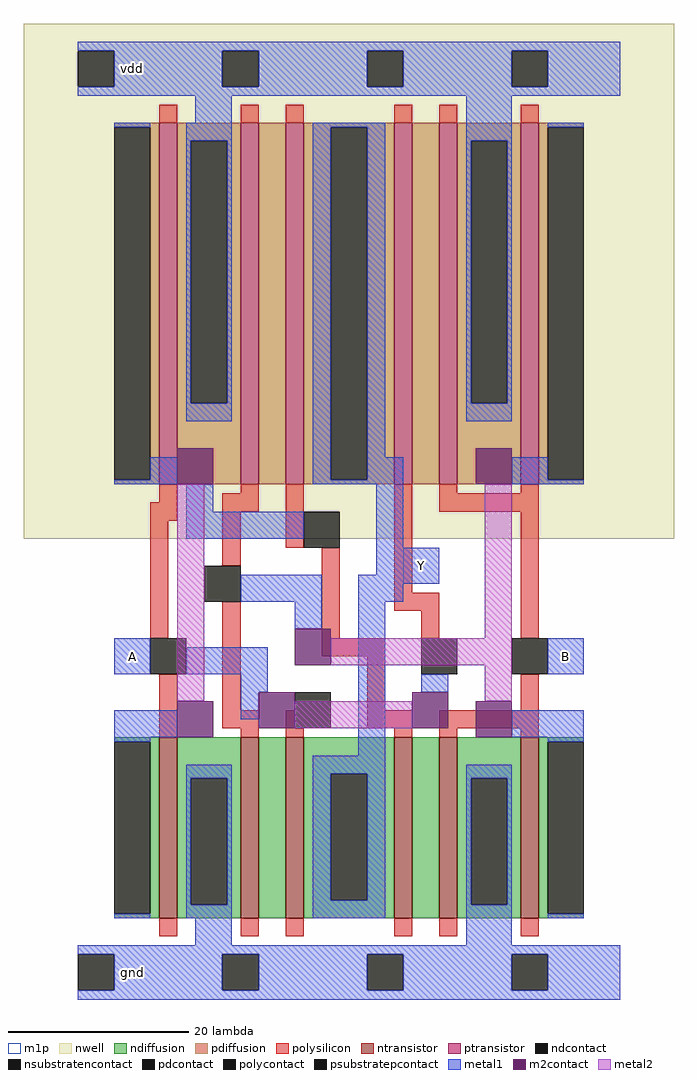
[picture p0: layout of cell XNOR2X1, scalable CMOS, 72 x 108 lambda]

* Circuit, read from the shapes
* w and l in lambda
.subckt XNOR2X1 A B Y vdd gnd
M1 gnd A n1 gnd nfet w=20 l=2
M2 n2 n3 gnd gnd nfet w=20 l=2
M3 Y A n2 gnd nfet w=20 l=2
M4 n4 n1 Y gnd nfet w=20 l=2
M5 gnd B n4 gnd nfet w=20 l=2
M6 n3 B gnd gnd nfet w=20 l=2
M7 vdd A n1 vdd pfet w=40 l=2
M8 n5 n3 vdd vdd pfet w=40 l=2
M9 Y n1 n5 vdd pfet w=40 l=2
M10 n6 A Y vdd pfet w=40 l=2
M11 vdd B n6 vdd pfet w=40 l=2
M12 n3 B vdd vdd pfet w=40 l=2
.ends

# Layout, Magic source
magic
tech scmos
magscale 1 2
<< nwell >>
rect -16 96 128 210
<< ntransistor >>
rect 14 12 18 52
rect 32 12 36 52
rect 42 12 46 52
rect 66 12 70 52
rect 76 12 80 52
rect 94 12 98 52
<< ptransistor >>
rect 14 108 18 188
rect 32 108 36 188
rect 42 108 46 188
rect 66 108 70 188
rect 76 108 80 188
rect 94 108 98 188
<< ndiffusion >>
rect 4 51 14 52
rect 12 13 14 51
rect 4 12 14 13
rect 18 43 32 52
rect 18 15 21 43
rect 29 15 32 43
rect 18 12 32 15
rect 36 12 42 52
rect 46 44 66 52
rect 46 16 52 44
rect 60 16 66 44
rect 46 12 66 16
rect 70 12 76 52
rect 80 43 94 52
rect 80 15 83 43
rect 91 15 94 43
rect 80 12 94 15
rect 98 51 108 52
rect 98 13 100 51
rect 98 12 108 13
<< pdiffusion >>
rect 4 187 14 188
rect 12 109 14 187
rect 4 108 14 109
rect 18 184 32 188
rect 18 126 21 184
rect 29 126 32 184
rect 18 108 32 126
rect 36 108 42 188
rect 46 187 66 188
rect 46 109 52 187
rect 60 109 66 187
rect 46 108 66 109
rect 70 108 76 188
rect 80 184 94 188
rect 80 126 83 184
rect 91 126 94 184
rect 80 108 94 126
rect 98 187 108 188
rect 98 109 100 187
rect 98 108 108 109
<< ndcontact >>
rect 4 13 12 51
rect 21 15 29 43
rect 52 16 60 44
rect 83 15 91 43
rect 100 13 108 51
<< pdcontact >>
rect 4 109 12 187
rect 21 126 29 184
rect 52 109 60 187
rect 83 126 91 184
rect 100 109 108 187
<< psubstratepcontact >>
rect -4 -4 4 4
rect 28 -4 36 4
rect 60 -4 68 4
rect 92 -4 100 4
<< nsubstratencontact >>
rect -4 196 4 204
rect 28 196 36 204
rect 60 196 68 204
rect 92 196 100 204
<< polysilicon >>
rect 14 188 18 192
rect 32 188 36 192
rect 42 188 46 192
rect 66 188 70 192
rect 76 188 80 192
rect 94 188 98 192
rect 14 104 18 108
rect 32 106 36 108
rect 12 100 18 104
rect 28 102 36 106
rect 12 74 16 100
rect 28 90 32 102
rect 42 94 46 108
rect 14 52 18 66
rect 28 58 32 82
rect 50 74 54 94
rect 66 84 70 108
rect 76 106 80 108
rect 94 106 98 108
rect 76 102 98 106
rect 66 80 76 84
rect 72 74 76 80
rect 94 74 98 102
rect 50 70 64 74
rect 28 54 36 58
rect 32 52 36 54
rect 42 54 44 58
rect 60 58 64 70
rect 94 58 98 66
rect 60 54 70 58
rect 42 52 46 54
rect 66 52 70 54
rect 76 54 98 58
rect 76 52 80 54
rect 94 52 98 54
rect 14 8 18 12
rect 32 8 36 12
rect 42 8 46 12
rect 66 8 70 12
rect 76 8 80 12
rect 94 8 98 12
<< polycontact >>
rect 46 94 54 102
rect 24 82 32 90
rect 12 66 20 74
rect 44 54 52 62
rect 72 66 80 74
rect 92 66 100 74
<< metal1 >>
rect -4 204 116 206
rect 4 196 28 204
rect 36 196 60 204
rect 68 196 92 204
rect 100 196 116 204
rect -4 194 116 196
rect 22 188 30 194
rect 4 187 12 188
rect 20 184 30 188
rect 20 126 21 184
rect 29 126 30 184
rect 20 122 30 126
rect 48 187 64 188
rect 12 109 18 114
rect 4 108 18 109
rect 48 109 52 187
rect 60 114 64 187
rect 82 184 92 194
rect 82 126 83 184
rect 91 126 92 184
rect 82 122 92 126
rect 100 187 108 188
rect 60 109 68 114
rect 48 108 68 109
rect 92 109 100 114
rect 92 108 108 109
rect 20 102 26 108
rect 20 96 46 102
rect 62 94 68 108
rect 62 88 76 94
rect 32 82 50 88
rect 44 76 50 82
rect 58 86 76 88
rect 58 82 68 86
rect 4 66 12 74
rect 20 66 38 72
rect 32 62 38 66
rect 4 52 18 58
rect 32 56 36 62
rect 4 51 12 52
rect 58 48 64 82
rect 100 66 108 74
rect 72 62 78 66
rect 92 52 108 58
rect 4 12 12 13
rect 20 43 30 46
rect 20 15 21 43
rect 29 15 30 43
rect 20 12 30 15
rect 48 44 64 48
rect 100 51 108 52
rect 48 16 52 44
rect 60 16 64 44
rect 48 12 64 16
rect 82 43 92 46
rect 82 15 83 43
rect 91 15 92 43
rect 22 6 30 12
rect 82 6 92 15
rect 100 12 108 13
rect -4 4 116 6
rect 4 -4 28 4
rect 36 -4 60 4
rect 68 -4 92 4
rect 100 -4 116 4
rect -4 -6 116 -4
<< m2contact >>
rect 18 108 26 116
rect 84 108 92 116
rect 44 68 52 76
rect 18 52 26 60
rect 36 54 44 62
rect 70 54 78 62
rect 84 52 92 60
<< metal2 >>
rect 18 60 24 108
rect 86 74 92 108
rect 52 68 92 74
rect 44 54 70 60
rect 86 60 92 68
<< m1p >>
rect 68 86 76 94
rect 4 66 12 74
rect 100 66 108 74
<< labels >>
rlabel metal1 8 70 8 70 4 A
port 1 se
rlabel metal1 104 70 104 70 4 B
port 2 se
rlabel metal1 8 0 8 0 4 gnd
port 5 se
rlabel metal1 8 200 8 200 4 vdd
port 4 se
rlabel metal1 72 90 72 90 4 Y
port 3 se
<< end >>
